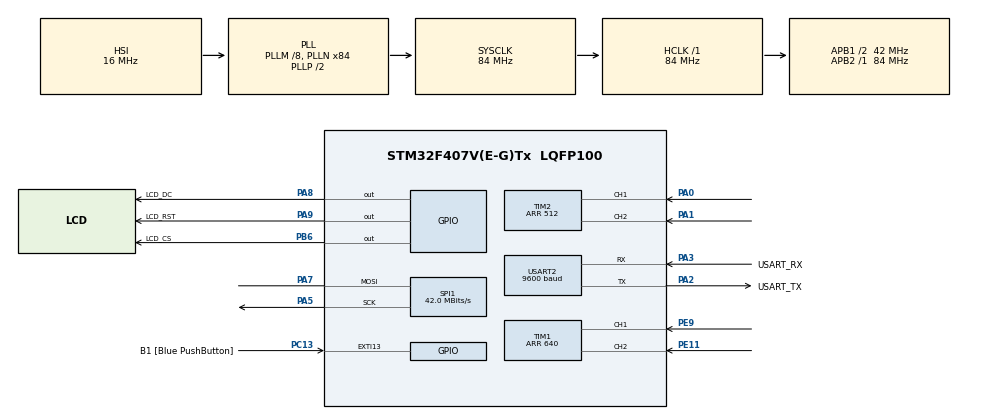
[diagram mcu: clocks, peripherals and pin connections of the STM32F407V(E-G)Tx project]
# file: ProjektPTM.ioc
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Mcu.Family=STM32F4
Mcu.Name=STM32F407V(E-G)Tx
Mcu.Package=LQFP100
NVIC.PriorityGroup=NVIC_PRIORITYGROUP_0
PA0-WKUP.Signal=S_TIM2_CH1_ETR
PA1.Signal=S_TIM2_CH2
PA2.GPIO_Label=USART_TX
PA2.Mode=Asynchronous
PA2.Signal=USART2_TX
PA3.GPIO_Label=USART_RX
PA3.Mode=Asynchronous
PA3.Signal=USART2_RX
PA5.GPIO_Speed=GPIO_SPEED_FREQ_VERY_HIGH
PA5.Mode=Simplex_Bidirectional_Master
PA5.Signal=SPI1_SCK
PA7.Mode=Simplex_Bidirectional_Master
PA7.Signal=SPI1_MOSI
PA8.GPIO_Label=LCD_DC
PA8.Signal=GPIO_Output
PA9.GPIO_Label=LCD_RST
PA9.Signal=GPIO_Output
PB6.GPIO_Label=LCD_CS
PB6.Signal=GPIO_Output
PC13-ANTI_TAMP.GPIO_Label=B1 [Blue PushButton]
PC13-ANTI_TAMP.Signal=GPXTI13
PE11.Signal=S_TIM1_CH2
PE9.Signal=S_TIM1_CH1
ProjectManager.HeapSize=0x200
ProjectManager.StackSize=0x400
ProjectManager.TargetToolchain=SW4STM32
RCC.48MHZClocksFreq_Value=42000000
RCC.AHBFreq_Value=84000000
RCC.APB1CLKDivider=RCC_HCLK_DIV2
RCC.APB1Freq_Value=42000000
RCC.APB1TimFreq_Value=84000000
RCC.APB2Freq_Value=84000000
RCC.APB2TimFreq_Value=84000000
RCC.CortexFreq_Value=84000000
RCC.HCLKFreq_Value=84000000
RCC.HSE_VALUE=8000000
RCC.HSI_VALUE=16000000
RCC.LSE_VALUE=32768
RCC.PLLM=8
RCC.PLLN=84
RCC.SYSCLKFreq_VALUE=84000000
RCC.SYSCLKSource=RCC_SYSCLKSOURCE_PLLCLK
RCC.VCOOutputFreq_Value=168000000
SH.S_TIM1_CH1.0=TIM1_CH1,Encoder_Interface
SH.S_TIM1_CH2.0=TIM1_CH2,Encoder_Interface
SH.S_TIM2_CH1_ETR.0=TIM2_CH1,Encoder_Interface
SH.S_TIM2_CH2.0=TIM2_CH2,Encoder_Interface
SPI1.BaudRatePrescaler=SPI_BAUDRATEPRESCALER_2
SPI1.CalculateBaudRate=42.0 MBits/s
SPI1.Direction=SPI_DIRECTION_1LINE
SPI1.Mode=SPI_MODE_MASTER
SPI1.VirtualType=VM_MASTER
TIM1.IC1Filter=15
TIM1.IC2Filter=15
TIM1.Period=640
TIM2.IC1Filter=15
TIM2.IC2Filter=15
TIM2.Period=512
USART2.BaudRate=9600
USART2.VirtualMode=VM_ASYNC
board=custom

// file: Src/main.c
/* USER CODE BEGIN Header */
/**
  ******************************************************************************
  * @file           : main.c
  * @brief          : Main program body
  ******************************************************************************
  ** This notice applies to any and all portions of this file
  * that are not between comment pairs USER CODE BEGIN and
  * USER CODE END. Other portions of this file, whether
  * inserted by the user or by software development tools
  * are owned by their respective copyright owners.
  *
  * COPYRIGHT(c) 2020 STMicroelectronics
  *
  * Redistribution and use in source and binary forms, with or without modification,
  * are permitted provided that the following conditions are met:
  *   1. Redistributions of source code must retain the above copyright notice,
  *      this list of conditions and the following disclaimer.
  *   2. Redistributions in binary form must reproduce the above copyright notice,
  *      this list of conditions and the following disclaimer in the documentation
  *      and/or other materials provided with the distribution.
  *   3. Neither the name of STMicroelectronics nor the names of its contributors
  *      may be used to endorse or promote products derived from this software
  *      without specific prior written permission.
  *
  * THIS SOFTWARE IS PROVIDED BY THE COPYRIGHT HOLDERS AND CONTRIBUTORS "AS IS"
  * AND ANY EXPRESS OR IMPLIED WARRANTIES, INCLUDING, BUT NOT LIMITED TO, THE
  * IMPLIED WARRANTIES OF MERCHANTABILITY AND FITNESS FOR A PARTICULAR PURPOSE ARE
  * DISCLAIMED. IN NO EVENT SHALL THE COPYRIGHT HOLDER OR CONTRIBUTORS BE LIABLE
  * FOR ANY DIRECT, INDIRECT, INCIDENTAL, SPECIAL, EXEMPLARY, OR CONSEQUENTIAL
  * DAMAGES (INCLUDING, BUT NOT LIMITED TO, PROCUREMENT OF SUBSTITUTE GOODS OR
  * SERVICES; LOSS OF USE, DATA, OR PROFITS; OR BUSINESS INTERRUPTION) HOWEVER
  * CAUSED AND ON ANY THEORY OF LIABILITY, WHETHER IN CONTRACT, STRICT LIABILITY,
  * OR TORT (INCLUDING NEGLIGENCE OR OTHERWISE) ARISING IN ANY WAY OUT OF THE USE
  * OF THIS SOFTWARE, EVEN IF ADVISED OF THE POSSIBILITY OF SUCH DAMAGE.
  *
  ******************************************************************************
  */
/* USER CODE END Header */

#include "main.h"
#include <string.h>
#include "st7735.h"
#include "fonts.h"
//#include "stm32f4xx_hal.h"

SPI_HandleTypeDef hspi1;

TIM_HandleTypeDef htim1;
TIM_HandleTypeDef htim2;

UART_HandleTypeDef huart2;

/* USER CODE BEGIN PV */
volatile uint16_t pulse_count1; // Licznik impulsow
volatile uint16_t positionsX; // Licznik przekreconych pozycji
volatile uint16_t pulse_count2; // Licznik impulsow
volatile uint16_t positionsY; // Licznik przekreconych pozycji
/* USER CODE END PV */

void SystemClock_Config(void);
static void MX_GPIO_Init(void);
static void MX_SPI1_Init(void);
static void MX_USART2_UART_Init(void);
static void MX_TIM1_Init(void);
static void MX_TIM2_Init(void);

/* USER CODE BEGIN 0 */
void init() {
    ST7735_Init();

    const char ready[] = "Ready!\r\n";
    HAL_UART_Transmit(&huart2, (uint8_t*)ready, sizeof(ready)-1, HAL_MAX_DELAY);
}
void loop() {
    // Check border

    ST7735_FillScreen(ST7735_BLACK);

    for(int x = 0; x < ST7735_WIDTH; x++) {
        ST7735_DrawPixel(x, 0, ST7735_RED);
        ST7735_DrawPixel(x, ST7735_HEIGHT-1, ST7735_RED);
    }

    for(int y = 0; y < ST7735_HEIGHT; y++) {
        ST7735_DrawPixel(0, y, ST7735_RED);
        ST7735_DrawPixel(ST7735_WIDTH-1, y, ST7735_RED);
    }

    HAL_Delay(3000);

    // Check fonts
    ST7735_FillScreen(ST7735_BLACK);
    ST7735_WriteString(0, 0, "Font_7x10, red on black, lorem ipsum dolor sit amet", Font_7x10, ST7735_RED, ST7735_BLACK);
    ST7735_WriteString(0, 3*10, "Font_11x18, green, lorem ipsum", Font_11x18, ST7735_GREEN, ST7735_BLACK);
    ST7735_WriteString(0, 3*10+3*18, "Font_16x26", Font_16x26, ST7735_BLUE, ST7735_BLACK);
    HAL_Delay(2000);

    // Check colors
    ST7735_FillScreen(ST7735_BLACK);
    ST7735_WriteString(0, 0, "BLACK", Font_11x18, ST7735_WHITE, ST7735_BLACK);
    HAL_Delay(500);

    ST7735_FillScreen(ST7735_BLUE);
    ST7735_WriteString(0, 0, "BLUE", Font_11x18, ST7735_BLACK, ST7735_BLUE);
    HAL_Delay(500);

    ST7735_FillScreen(ST7735_RED);
    ST7735_WriteString(0, 0, "RED", Font_11x18, ST7735_BLACK, ST7735_RED);
    HAL_Delay(500);

    ST7735_FillScreen(ST7735_GREEN);
    ST7735_WriteString(0, 0, "GREEN", Font_11x18, ST7735_BLACK, ST7735_GREEN);
    HAL_Delay(500);

    ST7735_FillScreen(ST7735_CYAN);
    ST7735_WriteString(0, 0, "CYAN", Font_11x18, ST7735_BLACK, ST7735_CYAN);
    HAL_Delay(500);

    ST7735_FillScreen(ST7735_MAGENTA);
    ST7735_WriteString(0, 0, "MAGENTA", Font_11x18, ST7735_BLACK, ST7735_MAGENTA);
    HAL_Delay(500);

    ST7735_FillScreen(ST7735_YELLOW);
    ST7735_WriteString(0, 0, "YELLOW", Font_11x18, ST7735_BLACK, ST7735_YELLOW);
    HAL_Delay(500);

    ST7735_FillScreen(ST7735_WHITE);
    ST7735_WriteString(0, 0, "WHITE", Font_11x18, ST7735_BLACK, ST7735_WHITE);
    HAL_Delay(500);

}
/* USER CODE END 0 */

int main(void)
{

  /* MCU Configuration--------------------------------------------------------*/

  /* Reset of all peripherals, Initializes the Flash interface and the Systick. */
  HAL_Init();

  /* Configure the system clock */
  SystemClock_Config();

  /* Initialize all configured peripherals */
  MX_GPIO_Init();
  MX_SPI1_Init();
  MX_USART2_UART_Init();
  MX_TIM1_Init();
  MX_TIM2_Init();
  /* USER CODE BEGIN 2 */
  HAL_TIM_Encoder_Start(&htim1, TIM_CHANNEL_ALL);
  HAL_TIM_Encoder_Start(&htim2, TIM_CHANNEL_ALL);
  /* USER CODE END 2 */

  /* Infinite loop */
  /* USER CODE BEGIN WHILE */
  init();
  //ST7735_DrawPixel(50, 50, ST7735_RED);
  ST7735_FillScreen(ST7735_WHITE);
  positionsX=0;
  positionsY=0;
  while (1)
  {
  //loop();
	  pulse_count1 = TIM1->CNT; // X
	   positionsY = pulse_count1/4; // X

	   pulse_count2 = TIM2->CNT; // Y
	    positionsX = pulse_count2/4; // Y
	  ST7735_DrawPixel(positionsX, positionsY, ST7735_BLACK);

    /* USER CODE END WHILE */

  }
}

void SystemClock_Config(void)
{
  RCC_OscInitTypeDef RCC_OscInitStruct = {0};
  RCC_ClkInitTypeDef RCC_ClkInitStruct = {0};

  /**Configure the main internal regulator output voltage
  */
  __HAL_RCC_PWR_CLK_ENABLE();
  __HAL_PWR_VOLTAGESCALING_CONFIG(PWR_REGULATOR_VOLTAGE_SCALE1);
  /**Initializes the CPU, AHB and APB busses clocks
  */
  RCC_OscInitStruct.OscillatorType = RCC_OSCILLATORTYPE_HSI;
  RCC_OscInitStruct.HSIState = RCC_HSI_ON;
  RCC_OscInitStruct.HSICalibrationValue = RCC_HSICALIBRATION_DEFAULT;
  RCC_OscInitStruct.PLL.PLLState = RCC_PLL_ON;
  RCC_OscInitStruct.PLL.PLLSource = RCC_PLLSOURCE_HSI;
  RCC_OscInitStruct.PLL.PLLM = 8;
  RCC_OscInitStruct.PLL.PLLN = 84;
  RCC_OscInitStruct.PLL.PLLP = RCC_PLLP_DIV2;
  RCC_OscInitStruct.PLL.PLLQ = 4;
  if (HAL_RCC_OscConfig(&RCC_OscInitStruct) != HAL_OK)
  {
    Error_Handler();
  }
  /**Initializes the CPU, AHB and APB busses clocks
  */
  RCC_ClkInitStruct.ClockType = RCC_CLOCKTYPE_HCLK|RCC_CLOCKTYPE_SYSCLK
                              |RCC_CLOCKTYPE_PCLK1|RCC_CLOCKTYPE_PCLK2;
  RCC_ClkInitStruct.SYSCLKSource = RCC_SYSCLKSOURCE_PLLCLK;
  RCC_ClkInitStruct.AHBCLKDivider = RCC_SYSCLK_DIV1;
  RCC_ClkInitStruct.APB1CLKDivider = RCC_HCLK_DIV2;
  RCC_ClkInitStruct.APB2CLKDivider = RCC_HCLK_DIV1;

  if (HAL_RCC_ClockConfig(&RCC_ClkInitStruct, FLASH_LATENCY_2) != HAL_OK)
  {
    Error_Handler();
  }
}

static void MX_SPI1_Init(void)
{

  /* SPI1 parameter configuration*/
  hspi1.Instance = SPI1;
  hspi1.Init.Mode = SPI_MODE_MASTER;
  hspi1.Init.Direction = SPI_DIRECTION_1LINE;
  hspi1.Init.DataSize = SPI_DATASIZE_8BIT;
  hspi1.Init.CLKPolarity = SPI_POLARITY_LOW;
  hspi1.Init.CLKPhase = SPI_PHASE_1EDGE;
  hspi1.Init.NSS = SPI_NSS_SOFT;
  hspi1.Init.BaudRatePrescaler = SPI_BAUDRATEPRESCALER_2;
  hspi1.Init.FirstBit = SPI_FIRSTBIT_MSB;
  hspi1.Init.TIMode = SPI_TIMODE_DISABLE;
  hspi1.Init.CRCCalculation = SPI_CRCCALCULATION_DISABLE;
  hspi1.Init.CRCPolynomial = 10;
  if (HAL_SPI_Init(&hspi1) != HAL_OK)
  {
    Error_Handler();
  }

}

static void MX_TIM1_Init(void)
{

  TIM_Encoder_InitTypeDef sConfig = {0};
  TIM_MasterConfigTypeDef sMasterConfig = {0};

  htim1.Instance = TIM1;
  htim1.Init.Prescaler = 0;
  htim1.Init.CounterMode = TIM_COUNTERMODE_UP;
  htim1.Init.Period = 640;
  htim1.Init.ClockDivision = TIM_CLOCKDIVISION_DIV1;
  htim1.Init.RepetitionCounter = 0;
  sConfig.EncoderMode = TIM_ENCODERMODE_TI1;
  sConfig.IC1Polarity = TIM_ICPOLARITY_RISING;
  sConfig.IC1Selection = TIM_ICSELECTION_DIRECTTI;
  sConfig.IC1Prescaler = TIM_ICPSC_DIV1;
  sConfig.IC1Filter = 15;
  sConfig.IC2Polarity = TIM_ICPOLARITY_RISING;
  sConfig.IC2Selection = TIM_ICSELECTION_DIRECTTI;
  sConfig.IC2Prescaler = TIM_ICPSC_DIV1;
  sConfig.IC2Filter = 15;
  if (HAL_TIM_Encoder_Init(&htim1, &sConfig) != HAL_OK)
  {
    Error_Handler();
  }
  sMasterConfig.MasterOutputTrigger = TIM_TRGO_RESET;
  sMasterConfig.MasterSlaveMode = TIM_MASTERSLAVEMODE_DISABLE;
  if (HAL_TIMEx_MasterConfigSynchronization(&htim1, &sMasterConfig) != HAL_OK)
  {
    Error_Handler();
  }

}

static void MX_TIM2_Init(void)
{

  TIM_Encoder_InitTypeDef sConfig = {0};
  TIM_MasterConfigTypeDef sMasterConfig = {0};

  htim2.Instance = TIM2;
  htim2.Init.Prescaler = 0;
  htim2.Init.CounterMode = TIM_COUNTERMODE_UP;
  htim2.Init.Period = 512;
  htim2.Init.ClockDivision = TIM_CLOCKDIVISION_DIV1;
  sConfig.EncoderMode = TIM_ENCODERMODE_TI1;
  sConfig.IC1Polarity = TIM_ICPOLARITY_RISING;
  sConfig.IC1Selection = TIM_ICSELECTION_DIRECTTI;
  sConfig.IC1Prescaler = TIM_ICPSC_DIV1;
  sConfig.IC1Filter = 15;
  sConfig.IC2Polarity = TIM_ICPOLARITY_RISING;
  sConfig.IC2Selection = TIM_ICSELECTION_DIRECTTI;
  sConfig.IC2Prescaler = TIM_ICPSC_DIV1;
  sConfig.IC2Filter = 15;
  if (HAL_TIM_Encoder_Init(&htim2, &sConfig) != HAL_OK)
  {
    Error_Handler();
  }
  sMasterConfig.MasterOutputTrigger = TIM_TRGO_RESET;
  sMasterConfig.MasterSlaveMode = TIM_MASTERSLAVEMODE_DISABLE;
  if (HAL_TIMEx_MasterConfigSynchronization(&htim2, &sMasterConfig) != HAL_OK)
  {
    Error_Handler();
  }

}

static void MX_USART2_UART_Init(void)
{

  huart2.Instance = USART2;
  huart2.Init.BaudRate = 9600;
  huart2.Init.WordLength = UART_WORDLENGTH_8B;
  huart2.Init.StopBits = UART_STOPBITS_1;
  huart2.Init.Parity = UART_PARITY_NONE;
  huart2.Init.Mode = UART_MODE_TX_RX;
  huart2.Init.HwFlowCtl = UART_HWCONTROL_NONE;
  huart2.Init.OverSampling = UART_OVERSAMPLING_16;
  if (HAL_UART_Init(&huart2) != HAL_OK)
  {
    Error_Handler();
  }

}

static void MX_GPIO_Init(void)
{
  GPIO_InitTypeDef GPIO_InitStruct = {0};

  /* GPIO Ports Clock Enable */
  __HAL_RCC_GPIOC_CLK_ENABLE();
  __HAL_RCC_GPIOA_CLK_ENABLE();
  __HAL_RCC_GPIOE_CLK_ENABLE();
  __HAL_RCC_GPIOB_CLK_ENABLE();

  /*Configure GPIO pin Output Level */
  HAL_GPIO_WritePin(GPIOA, LCD_DC_Pin|LCD_RST_Pin, GPIO_PIN_RESET);

  /*Configure GPIO pin Output Level */
  HAL_GPIO_WritePin(LCD_CS_GPIO_Port, LCD_CS_Pin, GPIO_PIN_RESET);

  /*Configure GPIO pin : B1_Pin */
  GPIO_InitStruct.Pin = B1_Pin;
  GPIO_InitStruct.Mode = GPIO_MODE_IT_RISING;
  GPIO_InitStruct.Pull = GPIO_NOPULL;
  HAL_GPIO_Init(B1_GPIO_Port, &GPIO_InitStruct);

  /*Configure GPIO pins : LCD_DC_Pin LCD_RST_Pin */
  GPIO_InitStruct.Pin = LCD_DC_Pin|LCD_RST_Pin;
  GPIO_InitStruct.Mode = GPIO_MODE_OUTPUT_PP;
  GPIO_InitStruct.Pull = GPIO_NOPULL;
  GPIO_InitStruct.Speed = GPIO_SPEED_FREQ_LOW;
  HAL_GPIO_Init(GPIOA, &GPIO_InitStruct);

  /*Configure GPIO pin : LCD_CS_Pin */
  GPIO_InitStruct.Pin = LCD_CS_Pin;
  GPIO_InitStruct.Mode = GPIO_MODE_OUTPUT_PP;
  GPIO_InitStruct.Pull = GPIO_NOPULL;
  GPIO_InitStruct.Speed = GPIO_SPEED_FREQ_LOW;
  HAL_GPIO_Init(LCD_CS_GPIO_Port, &GPIO_InitStruct);

}

void Error_Handler(void)
{
}

/************************ (C) COPYRIGHT STMicroelectronics *****END OF FILE****/
